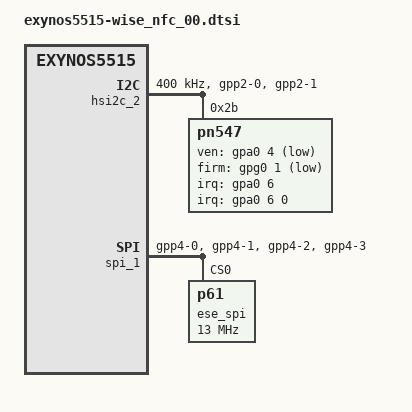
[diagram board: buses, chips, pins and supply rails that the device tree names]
/* Copyright (c) 2013, Samsung Electronics Corporation. All rights reserved.
 *
 * This program is free software; you can redistribute it and/or modify
 * it under the terms of the GNU General Public License version 2 and
 * only version 2 as published by the Free Software Foundation.
 *
 * This program is distributed in the hope that it will be useful,
 * but WITHOUT ANY WARRANTY; without even the implied warranty of
 * MERCHANTABILITY or FITNESS FOR A PARTICULAR PURPOSE.  See the
 * GNU General Public License for more details.
 */


&pinctrl_4 {
	nfc_firm: nfc_firm {
		samsung,pins = "gpg0-1";
		samsung,pin-function = <1>;
		samsung,pin-pud = <0>;
		samsung,pin-val = <0>;
		samsung,pin-con-pdn = <3>;
		samsung,pin-pud-pdn = <0>;
	};

	hsi2c2_nfc: hsi2c2-nfc {
		samsung,pins = "gpp2-0", "gpp2-1";
		samsung,pin-function = <2>;
		samsung,pin-pud = <3>;
		samsung,pin-drv = <0>;
		samsung,pin-con-pdn = <3>;
		samsung,pin-pud-pdn = <3>;
		};
};

&pinctrl_0 {
	nfc_en: nfc_en {
		samsung,pins = "gpa0-4";
		samsung,pin-function = <1>;
		samsung,pin-pud = <0>;
	};

};


&hsi2c_2 {
	#address-cells = <1>;
	#size-cells = <0>;
	status = "okay";
	clock-frequency = <400000>;
	samsung,reset-before-trans;

	pinctrl-names = "default";
	pinctrl-0 = <&hsi2c2_nfc>;


	pn547@2B {
		compatible = "pn547";
		reg = <0x2B>;

		interrupts = <6 0 0>;
		interrupt-parent = <&gpa0>;

		pn547,ven-gpio = <&gpa0 4 1>;
		pn547,firm-gpio = <&gpg0 1 1>;
		pn547,irq-gpio = <&gpa0 6 0>;
		pn547,ap_vendor = "slsi";

		pinctrl-names = "default";
		pinctrl-0 = <&nfc_en &nfc_firm>;
	};
};

&pinctrl_4 {
	ese_spi_bus_suspend: ese_spi_bus_suspend {
		samsung,pins = "gpp4-0","gpp4-1";
		samsung,pin-function = <1>;		/* OUTPUT */
		samsung,pin-drv = <0>;			
		samsung,pin-pud = <3>;			/* UP */
		samsung,pin-val = <1>;
		samsung,pin-con-pdn = <3>;		/* PREV */
		samsung,pin-pud-pdn = <3>;		/* UP */
	};

	ese_spi_bus: ese_spi_bus {
		samsung,pins = "gpp4-0","gpp4-1","gpp4-2";
		samsung,pin-function = <2>;		/* FUNC */
		samsung,pin-pud = <0>;			/* NONE */
		samsung,pin-drv = <0>;
	};

	ese_spi_cs_func: ese_spi_cs_func {
		samsung,pins = "gpp4-3";
		samsung,pin-function = <2>;		/* FUNC */
		samsung,pin-pud = <0>;			/* NONE */
		samsung,pin-drv = <0>;
	};

	ese_spi_miso_suspend: ese_spi_miso_suspend {
		samsung,pins = "gpp4-2";
		samsung,pin-function = <1>;		/* OUTPUT */
		samsung,pin-pud = <3>;			/* UP */
		samsung,pin-drv = <0>;
		samsung,pin-val = <1>;
		samsung,pin-con-pdn = <3>;		/* PREV */
		samsung,pin-pud-pdn = <3>;		/* UP */
	};
	ese_spi_cs_suspend: ese_spi_cs_suspend {
		samsung,pins = "gpp4-3";
		samsung,pin-function = <1>;		/* OUTPUT */
		samsung,pin-pud = <3>;			/* UP */
		samsung,pin-drv = <0>;
		samsung,pin-val = <1>;
		samsung,pin-con-pdn = <3>;		/* PREV */
		samsung,pin-pud-pdn = <3>;		/* UP	*/
	};
	ese_spi_lpm_suspend: ese_spi_lpm_suspend {
		samsung,pins = "gpp4-0","gpp4-1","gpp4-2","gpp4-3";
		samsung,pin-function = <1>;		/* OUTPUT */
		samsung,pin-pud = <1>;			/* DOWN */
		samsung,pin-drv = <0>;
		samsung,pin-val = <0>;
	};
};

&spi_1 {
	status = "okay";
	/delete-property/ pinctrl-names;
	/delete-property/ pinctrl-0;
	pinctrl-names = "default", "ese_on", "ese_off", "lpm";
	pinctrl-0 = <&ese_spi_lpm_suspend>;
	pinctrl-1 = <&ese_spi_bus &ese_spi_cs_func>;
	pinctrl-2 = <&ese_spi_bus_suspend &ese_spi_miso_suspend &ese_spi_cs_suspend>;
	pinctrl-3 = <&ese_spi_lpm_suspend>;

	ese_spi@0 {
		compatible = "p61";
		reg = <0>;
		spi-max-frequency = <13000000>;
		p61,ap_vendor = "slsi";

		controller-data {
			samsung,spi-feedback-delay = <0>;
			samsung,spi-chip-select-mode = <0>;
		};
	};
};
